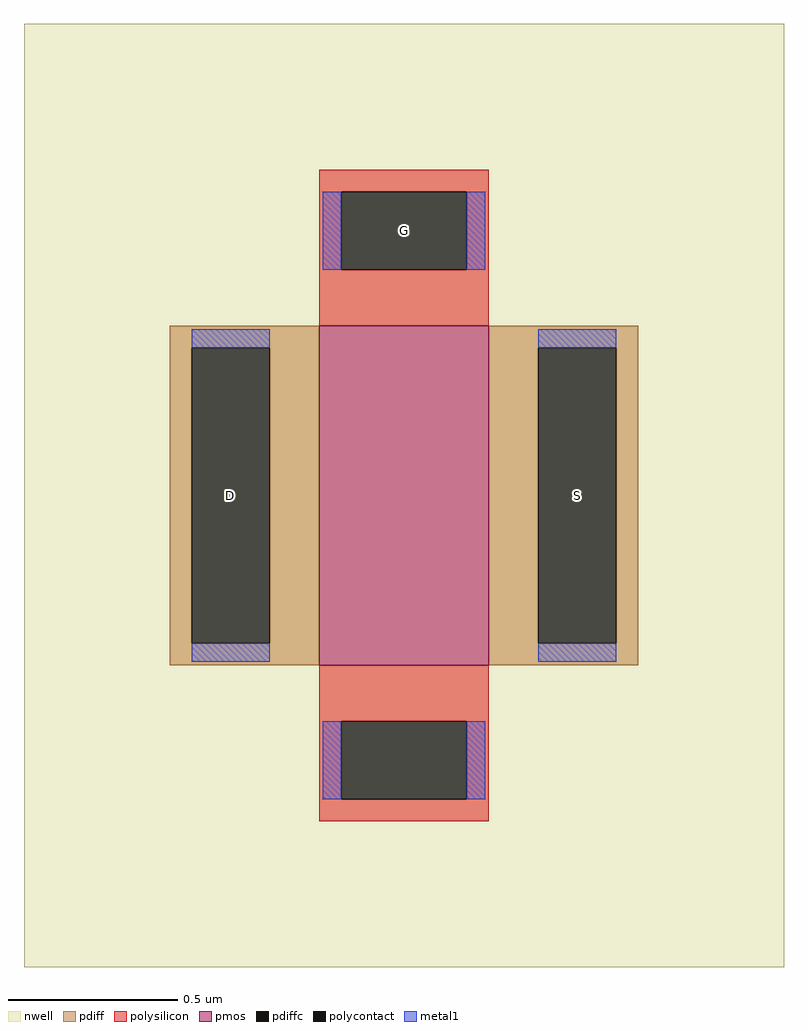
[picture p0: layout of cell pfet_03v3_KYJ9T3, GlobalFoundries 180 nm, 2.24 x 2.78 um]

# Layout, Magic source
magic
tech gf180mcuD
magscale 1 10
<< nwell >>
rect -224 -278 224 278
<< pmos >>
rect -50 -100 50 100
<< pdiff >>
rect -138 87 -50 100
rect -138 -87 -125 87
rect -79 -87 -50 87
rect -138 -100 -50 -87
rect 50 87 138 100
rect 50 -87 79 87
rect 125 -87 138 87
rect 50 -100 138 -87
<< pdiffc >>
rect -125 -87 -79 87
rect 79 -87 125 87
<< polysilicon >>
rect -50 179 50 192
rect -50 133 -37 179
rect 37 133 50 179
rect -50 100 50 133
rect -50 -133 50 -100
rect -50 -179 -37 -133
rect 37 -179 50 -133
rect -50 -192 50 -179
<< polycontact >>
rect -37 133 37 179
rect -37 -179 37 -133
<< metal1 >>
rect -48 133 -37 179
rect 37 133 48 179
rect -125 87 -79 98
rect -125 -98 -79 -87
rect 79 87 125 98
rect 79 -98 125 -87
rect -48 -179 -37 -133
rect 37 -179 48 -133
<< labels >>
rlabel pdiffc -102 0 -102 0 0 D
port 1 nsew
rlabel pdiffc 102 0 102 0 0 S
port 2 nsew
rlabel polycontact 0 156 0 156 0 G
port 3 nsew
<< properties >>
string gencell pfet_03v3
string library gf180mcu
string parameters w 1.0 l 0.50 m 1 nf 1 diffcov 100 polycov 100 guard 0 glc 1 grc 1 gtc 0 gbc 0 tbcov 100 rlcov 100 topc 1 botc 1 poverlap 0 doverlap 1 lmin 0.28 wmin 0.22 class mosfet full_metal 0 viasrc 0 viadrn 0 viagate 0 viagb 0 viagr 0 viagl 0 viagt 0 doports 1 compatible {pfet_03v3 pfet_05v0 pfet_06v0}
<< end >>
